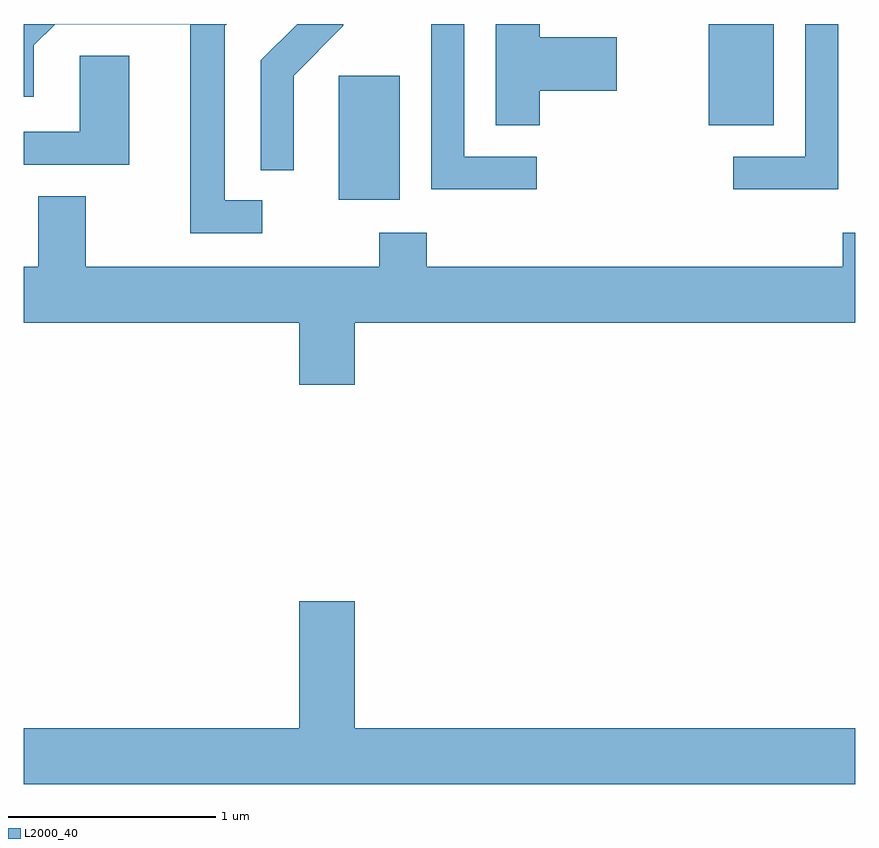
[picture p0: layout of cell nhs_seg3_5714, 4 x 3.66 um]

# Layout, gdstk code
import gdstk
lib = gdstk.Library(unit=1e-6, precision=1e-09)
def R(c, l, rs):  # rectangles x0, y0, x1, y1
    for r in rs: c.add(gdstk.rectangle(r[:2], r[2:], *l))
def P(c, l, *ps):  # polygons
    for p in ps: c.add(gdstk.Polygon(p, *l))
L2000_40 = (2000, 40)

nhs_seg3_5714 = lib.new_cell('nhs_seg3_5714')
R(nhs_seg3_5714, L2000_40, [(355.126,1131.046,355.419,1131.644), (356.906,1131.406,357.219,1131.892)])
P(nhs_seg3_5714, L2000_40, [(354.758,1131.044),(354.579,1131.044),(354.579,1131.884),(354.587,1131.892),(353.611,1131.892),(353.611,1131.543),(353.659,1131.543),(353.659,1131.789),(353.762,1131.891),(354.411,1131.891),(354.411,1130.886),(354.758,1130.886)],
  [(356.094,1131.571),(356.464,1131.571),(356.464,1131.829),(356.094,1131.829),(356.094,1131.892),(355.881,1131.892),(355.881,1131.406),(356.094,1131.406)],
  [(354.909,1131.644),(355.149,1131.884),(355.149,1131.892),(354.926,1131.892),(354.751,1131.717),(354.751,1131.188),(354.909,1131.188)],
  [(356.078,1131.254),(355.729,1131.254),(355.729,1131.892),(355.571,1131.892),(355.571,1131.096),(356.078,1131.096)],
  [(357.529,1131.892),(357.371,1131.892),(357.371,1131.254),(357.023,1131.254),(357.023,1131.096),(357.529,1131.096)],
  [(354.119,1131.739),(353.881,1131.739),(353.881,1131.374),(353.611,1131.374),(353.611,1131.216),(354.119,1131.216)],
  [(355.204,1130.456),(357.611,1130.456),(357.611,1130.889),(357.551,1130.889),(357.551,1130.724),(355.549,1130.724),(355.549,1130.889),(355.321,1130.889),(355.321,1130.724),(353.909,1130.724),(353.909,1131.064),(353.681,1131.064),(353.681,1130.724),(353.611,1130.724),(353.611,1130.456),(354.936,1130.456),(354.936,1130.156),(355.204,1130.156)],
  [(357.611,1128.504),(355.204,1128.504),(355.204,1129.114),(354.936,1129.114),(354.936,1128.504),(353.611,1128.504),(353.611,1128.236),(357.611,1128.236)])

lib.write_gds('nhs_seg3_5714.gds')
